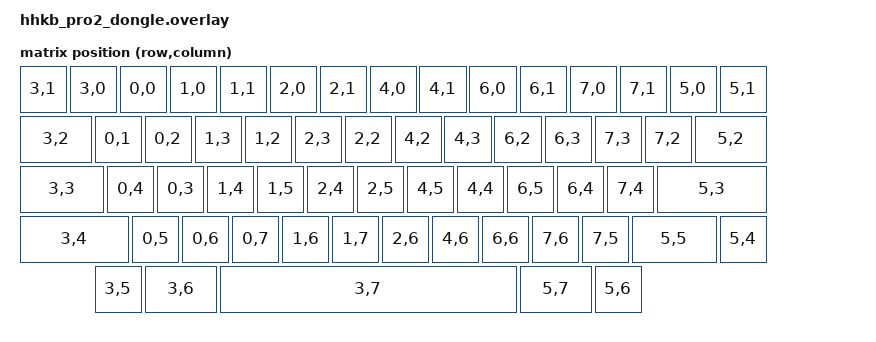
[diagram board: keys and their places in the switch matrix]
#include <dt-bindings/zmk/matrix_transform.h>



/ {
    chosen {
        zmk,kscan = &mock_kscan;
        zmk,physical-layout = &hhkb_pro2_layout0;
    };

    mock_kscan: mock_kscan_0 {
        compatible = "zmk,kscan-mock";
        columns = <0>;
        rows = <0>;
        events = <0>;
    };
    default_transform: keymap_transform_0 {
        compatible = "zmk,matrix-transform";
        columns = <8>;
        rows = <8>;
        map = <
        RC(3,1) RC(3,0) RC(0,0) RC(1,0) RC(1,1) RC(2,0) RC(2,1) RC(4,0) RC(4,1) RC(6,0) RC(6,1) RC(7,0) RC(7,1) RC(5,0) RC(5,1)
        RC(3,2) RC(0,1) RC(0,2) RC(1,3) RC(1,2) RC(2,3) RC(2,2) RC(4,2) RC(4,3) RC(6,2) RC(6,3) RC(7,3) RC(7,2) RC(5,2)
        RC(3,3) RC(0,4) RC(0,3) RC(1,4) RC(1,5) RC(2,4) RC(2,5) RC(4,5) RC(4,4) RC(6,5) RC(6,4) RC(7,4) RC(5,3)
        RC(3,4) RC(0,5) RC(0,6) RC(0,7) RC(1,6) RC(1,7) RC(2,6) RC(4,6) RC(6,6) RC(7,6) RC(7,5) RC(5,5) RC(5,4)
        RC(3,5) RC(3,6)                 RC(3,7)                 RC(5,7) RC(5,6)
        >;
    };
    hhkb_pro2_layout0: hhkb_pro2_layout {
        compatible = "zmk,physical-layout";
        display-name = "HHKB";
        transform = <&default_transform>;

        keys  //                     w   h    x    y     rot    rx    ry
            = <&key_physical_attrs 100 100    0    0       0     0     0>
            , <&key_physical_attrs 100 100  100    0       0     0     0>
            , <&key_physical_attrs 100 100  200    0       0     0     0>
            , <&key_physical_attrs 100 100  300    0       0     0     0>
            , <&key_physical_attrs 100 100  400    0       0     0     0>
            , <&key_physical_attrs 100 100  500    0       0     0     0>
            , <&key_physical_attrs 100 100  600    0       0     0     0>
            , <&key_physical_attrs 100 100  700    0       0     0     0>
            , <&key_physical_attrs 100 100  800    0       0     0     0>
            , <&key_physical_attrs 100 100  900    0       0     0     0>
            , <&key_physical_attrs 100 100 1000    0       0     0     0>
            , <&key_physical_attrs 100 100 1100    0       0     0     0>
            , <&key_physical_attrs 100 100 1200    0       0     0     0>
            , <&key_physical_attrs 100 100 1300    0       0     0     0>
            , <&key_physical_attrs 100 100 1400    0       0     0     0>
            , <&key_physical_attrs 150 100    0  100       0     0     0>
            , <&key_physical_attrs 100 100  150  100       0     0     0>
            , <&key_physical_attrs 100 100  250  100       0     0     0>
            , <&key_physical_attrs 100 100  350  100       0     0     0>
            , <&key_physical_attrs 100 100  450  100       0     0     0>
            , <&key_physical_attrs 100 100  550  100       0     0     0>
            , <&key_physical_attrs 100 100  650  100       0     0     0>
            , <&key_physical_attrs 100 100  750  100       0     0     0>
            , <&key_physical_attrs 100 100  850  100       0     0     0>
            , <&key_physical_attrs 100 100  950  100       0     0     0>
            , <&key_physical_attrs 100 100 1050  100       0     0     0>
            , <&key_physical_attrs 100 100 1150  100       0     0     0>
            , <&key_physical_attrs 100 100 1250  100       0     0     0>
            , <&key_physical_attrs 150 100 1350  100       0     0     0>
            , <&key_physical_attrs 175 100    0  200       0     0     0>
            , <&key_physical_attrs 100 100  175  200       0     0     0>
            , <&key_physical_attrs 100 100  275  200       0     0     0>
            , <&key_physical_attrs 100 100  375  200       0     0     0>
            , <&key_physical_attrs 100 100  475  200       0     0     0>
            , <&key_physical_attrs 100 100  575  200       0     0     0>
            , <&key_physical_attrs 100 100  675  200       0     0     0>
            , <&key_physical_attrs 100 100  775  200       0     0     0>
            , <&key_physical_attrs 100 100  875  200       0     0     0>
            , <&key_physical_attrs 100 100  975  200       0     0     0>
            , <&key_physical_attrs 100 100 1075  200       0     0     0>
            , <&key_physical_attrs 100 100 1175  200       0     0     0>
            , <&key_physical_attrs 225 100 1275  200       0     0     0>
            , <&key_physical_attrs 225 100    0  300       0     0     0>
            , <&key_physical_attrs 100 100  225  300       0     0     0>
            , <&key_physical_attrs 100 100  325  300       0     0     0>
            , <&key_physical_attrs 100 100  425  300       0     0     0>
            , <&key_physical_attrs 100 100  525  300       0     0     0>
            , <&key_physical_attrs 100 100  625  300       0     0     0>
            , <&key_physical_attrs 100 100  725  300       0     0     0>
            , <&key_physical_attrs 100 100  825  300       0     0     0>
            , <&key_physical_attrs 100 100  925  300       0     0     0>
            , <&key_physical_attrs 100 100 1025  300       0     0     0>
            , <&key_physical_attrs 100 100 1125  300       0     0     0>
            , <&key_physical_attrs 175 100 1225  300       0     0     0>
            , <&key_physical_attrs 100 100 1400  300       0     0     0>
            , <&key_physical_attrs 100 100  150  400       0     0     0>
            , <&key_physical_attrs 150 100  250  400       0     0     0>
            , <&key_physical_attrs 600 100  400  400       0     0     0>
            , <&key_physical_attrs 150 100 1000  400       0     0     0>
            , <&key_physical_attrs 100 100 1150  400       0     0     0>
            ;
    };
};


    

